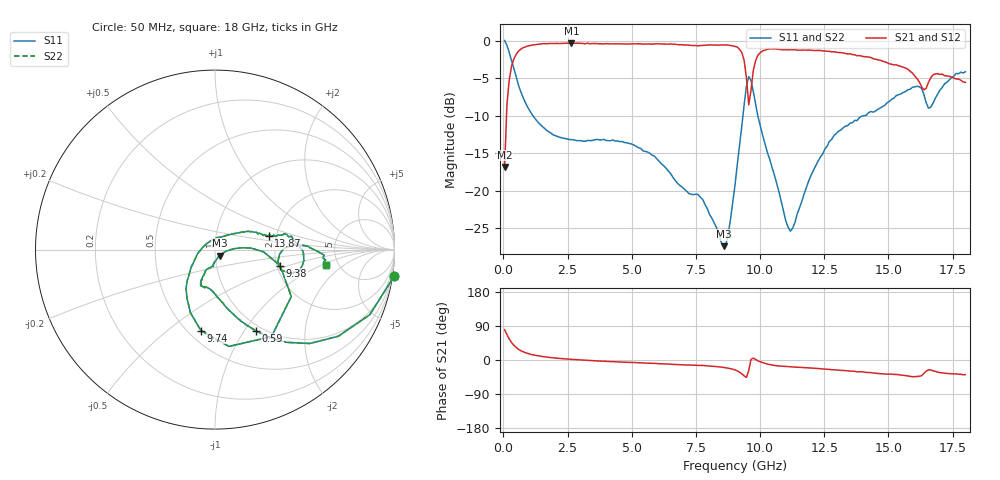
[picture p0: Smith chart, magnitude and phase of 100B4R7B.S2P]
!  American Technical Ceramics  Date:  3/13/98
!  One Norden Lane
!  Huntington Station,  NY.  11746-2102
!  Tel:  (516) 547-5700  Fax:  (516) 547-5748
!  Part Number  100b4r7b
!  Description: Porcelain, High Q, Low ESR
!  Application: Bypass, Coupling, Timing, Feedback
!  Tuning, Impedance Match, Blocking
# GHZ S DB R 50
! Freq  |S11|  S11 Ph  |S21|  S21 Ph  |S12|  S12 Ph  |S22|  S22 Ph
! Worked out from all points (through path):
!   201 points, 50 MHz to 18 GHz, reference 50 ohm
!   highest |S21| = -0.27 dB at 2.65 GHz (marker M1); lowest = -16.9 dB at 50 MHz (marker M2)
!   lowest |S11| = -27.5 dB at 8.58 GHz (marker M3), VSWR 1.09, Z = 52.6 - j3.5 ohm
!   |S11| at or under -10 dB: 1.157 GHz to 9.334 GHz (8.177 GHz wide, 156 % of centre); 9.914 GHz to 14.02 GHz (4.11 GHz wide, 34.3 % of centre)
!   |S22| runs from -27.5 to 0.1 dB; largest |S21 - S12| = 0
!   S11 on the Smith chart (normalised r, x): 50 MHz: -1, -14; 590 MHz: 0.93, -1.13; 9.38 GHz: 2.08, -0.43; 9.74 GHz: 0.58, -0.66; 13.87 GHz: 1.82, +0.30; 18 GHz: 3.98, -1.11
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0.05  0.09 -8.3  -16.85 80.1  -16.85 80.1  0.09 -8.3
0.14  -0.58 -22.9  -8.56 67.3  -8.56 67.3  -0.58 -22.9
0.23  -1.52 -35.1  -5.19 55.6  -5.19 55.6  -1.52 -35.1
0.59  -5.90 -63.2  -1.35 28.1  -1.35 28.1  -5.90 -63.2
1.4  -11.03 -84.3  -0.41 10.5  -0.41 10.5  -11.03 -84.3
2.65  -13.19 -98.6  -0.27 1.9  -0.27 1.9  -13.19 -98.6
3.1  -13.40 -103.3  -0.31 -0.2  -0.31 -0.2  -13.40 -103.3
6.06  -16.09 -113.7  -0.36 -9.8  -0.36 -9.8  -16.09 -113.7
7.77  -21.21 -96.7  -0.57 -14.4  -0.57 -14.4  -21.21 -96.7
8.58  -27.45 -51.5  -0.52 -19.5  -0.52 -19.5  -27.45 -51.5
9.03  -19.14 2.9  -0.72 -26.3  -0.72 -26.3  -19.14 2.9
9.38  -8.55 -13.8  -2.57 -41.8  -2.57 -41.8  -8.55 -13.8
9.56  -4.76 -57.0  -8.53 -27.7  -8.53 -27.7  -4.76 -57.0
9.74  -6.79 -99.8  -3.87 4.9  -3.87 4.9  -6.79 -99.8
10.1  -12.58 -131.5  -1.30 -6.8  -1.30 -6.8  -12.58 -131.5
11.18  -25.45 125.6  -1.14 -17.6  -1.14 -17.6  -25.45 125.6
12.08  -17.32 40.5  -1.25 -21.7  -1.25 -21.7  -17.32 40.5
13.87  -10.24 14.1  -1.93 -30.9  -1.93 -30.9  -10.24 14.1
15.04  -8.06 12.8  -3.04 -37.1  -3.04 -37.1  -8.06 12.8
16.12  -6.04 -7.0  -5.05 -43.3  -5.05 -43.3  -6.04 -7.0
16.56  -8.97 -10.7  -5.53 -26.0  -5.53 -26.0  -8.97 -10.7
18  -4.10 -7.9  -5.53 -38.6  -5.53 -38.6  -4.10 -7.9
